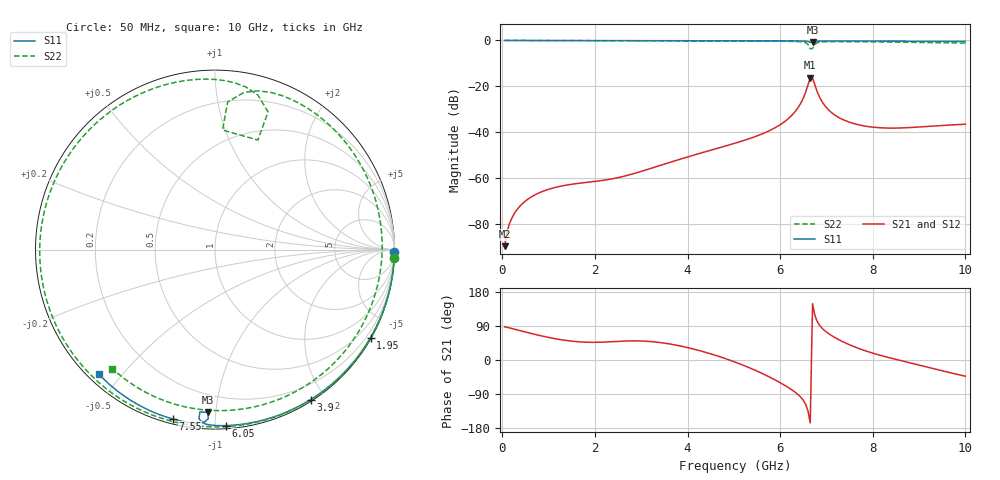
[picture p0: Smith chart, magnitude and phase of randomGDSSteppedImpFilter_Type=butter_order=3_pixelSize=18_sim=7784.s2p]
! freq	dB(S11)	phase(S11)	dB(S12)	phase(S12)
!  dB(S21)	phase(S21)	dB(S22)	phase(S22)
!S-par simulation data
#  GHz  S  DB  R 50
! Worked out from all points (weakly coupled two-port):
!   200 points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, 50 MHz to 10 GHz, reference 50 ohm
!   highest |S21| = -16.27 dB at 6.65 GHz (marker M1); lowest = -89.6 dB at 50 MHz (marker M2)
!   lowest |S11| = -0.8 dB at 6.7 GHz (marker M3), VSWR 20.68, Z = 4.63 - j47.7 ohm
!   |S11| at or under -10 dB: nowhere
!   |S22| runs from -3.7 to 0.0 dB; largest |S21 - S12| = 0
!   S11 on the Smith chart (normalised r, x): 50 MHz: open; 1.95 GHz: 0.03, -3.80; 3.9 GHz: 0.02, -1.82; 6.05 GHz: 0.02, -1.06; 7.55 GHz: 0.02, -0.78; 10 GHz: 0.03, -0.44
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0.05  -0.00 -0.8  -89.61 87.8  -89.61 87.8  -0.00 -2.6
0.15  -0.00 -2.3  -80.11 84.9  -80.11 84.9  -0.01 -7.7
0.35  -0.01 -5.4  -72.87 78.5  -72.87 78.5  -0.02 -17.8
0.7  -0.01 -10.7  -67.31 67.7  -67.31 67.7  -0.04 -35.3
1.25  -0.02 -19.0  -63.52 53.9  -63.52 53.9  -0.07 -61.7
1.75  -0.03 -26.5  -61.99 47.3  -61.99 47.3  -0.10 -84.1
1.95  -0.04 -29.5  -61.52 46.6  -61.52 46.6  -0.11 -92.7
2.6  -0.05 -39.0  -59.28 49.8  -59.28 49.8  -0.13 -119.0
3.4  -0.07 -50.5  -54.50 46.2  -54.50 46.2  -0.16 -149.1
3.9  -0.08 -57.5  -51.35 35.5  -51.35 35.5  -0.19 -167.3
5.05  -0.11 -73.1  -44.61 -6.5  -44.61 -6.5  -0.26 149.7
6.05  -0.15 -86.4  -36.04 -63.3  -36.04 -63.3  -0.36 106.2
6.5  -0.24 -93.2  -25.11 -106.3  -25.11 -106.3  -0.71 79.2
6.65  -0.83 -95.3  -16.27 -165.9  -16.27 -165.9  -3.67 68.6
6.7  -0.84 -92.4  -16.36 148.5  -16.36 148.5  -3.51 86.4
6.8  -0.35 -93.3  -22.36 101.7  -22.36 101.7  -1.00 79.5
7  -0.23 -96.8  -29.28 73.7  -29.28 73.7  -0.55 63.2
7.55  -0.24 -104.0  -35.97 37.5  -35.97 37.5  -0.55 27.3
7.95  -0.27 -108.9  -37.65 19.9  -37.65 19.9  -0.62 0.8
8.35  -0.30 -113.7  -38.18 6.2  -38.18 6.2  -0.70 -26.3
9.15  -0.37 -123.1  -37.50 -18.0  -37.50 -18.0  -0.90 -79.2
10  -0.46 -132.9  -36.48 -42.8  -36.48 -42.8  -1.16 -130.7
